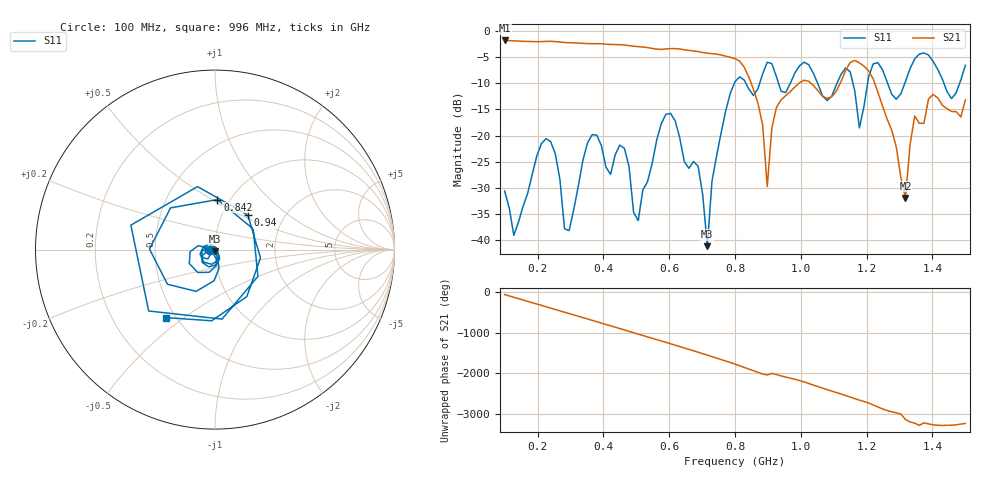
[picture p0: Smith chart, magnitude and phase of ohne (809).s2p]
! NanoVNA-App
! Date: 2025-09-25 14:27:06
! Start: 100MHz Stop: 1,5GHz Points: 101
! S-Parameter data: F S11 S21 S12 S22
# Hz S RI R 50
!  Frequency  S11_Real  S11_Imag  S21_Real  S21_Imag  S12_Real  S12_Imag  S22_Real  S22_Imag
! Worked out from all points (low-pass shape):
!   101 points, 100 MHz to 1.5 GHz, reference 50 ohm
!   highest |S21| = -1.79 dB at 100 MHz (marker M1); lowest = -31.9 dB at 1.318 GHz (marker M2)
!   |S21| within 3 dB of the highest: start of sweep to 770.9 MHz
!   lowest |S11| = -41.2 dB at 716 MHz (marker M3), VSWR 1.02, Z = 49.8 - j0.851 ohm
!   |S11| at or under -10 dB: start of sweep to 798 MHz; 833.1 MHz to 875 MHz (41.9 MHz wide, 4.91 % of centre); 1.051 GHz to 1.11 GHz (58.64 MHz wide, 5.43 % of centre) (the widest 3 of 7)
!   S12 and S22 are empty: the file has one direction only
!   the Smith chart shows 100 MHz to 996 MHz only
!   S11 on the Smith chart (normalised r, x): 100 MHz: 0.94, -0.01; 842 MHz: 0.88, +0.53; 940 MHz: 1.32, +0.55; 996 MHz: 0.45, -0.43
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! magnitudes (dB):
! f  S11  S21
! 100 MHz  -30.6  -1.8
! 128 MHz  -39.1  -1.9
! 226 MHz  -20.6  -2.0
! 296 MHz  -38.2  -2.2
! 338 MHz  -24.7  -2.3
! 464 MHz  -22.5  -2.7
! 506 MHz  -36.3  -3.0
! 576 MHz  -17.7  -3.5
! 688 MHz  -25.9  -3.9
! 716 MHz  -41.2  -4.2
! 800 MHz  -9.7  -5.3
! 842 MHz  -11.1  -8.8
! 898 MHz  -6.0  -29.8
! 940 MHz  -11.5  -13.2
! 996 MHz  -6.6  -9.9
! 1.038 GHz  -8.1  -10.4
! 1.178 GHz  -18.5  -6.1
! 1.22 GHz  -6.3  -9.2
! 1.276 GHz  -12.1  -18.9
! 1.318 GHz  -9.7  -31.9
! 1.346 GHz  -5.3  -16.3
! 1.5 GHz  -6.5  -13.2
